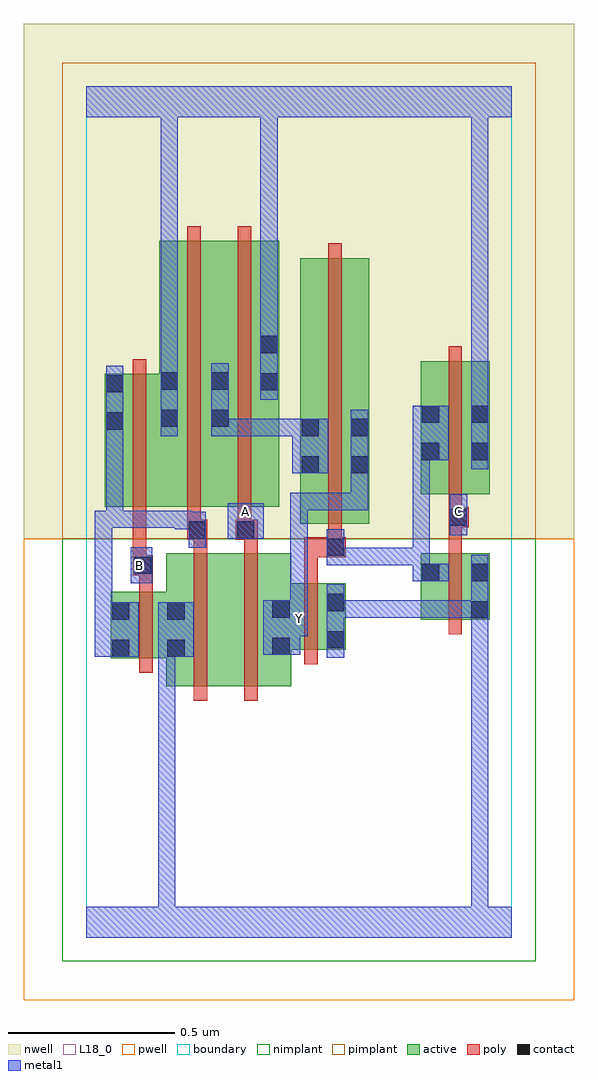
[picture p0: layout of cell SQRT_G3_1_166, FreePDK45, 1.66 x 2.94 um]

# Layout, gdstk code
import gdstk
lib = gdstk.Library(unit=1e-6, precision=1e-09)
def R(c, l, rs):  # rectangles x0, y0, x1, y1
    for r in rs: c.add(gdstk.rectangle(r[:2], r[2:], *l))
active = (1, 0)
pwell = (2, 0)
nwell = (3, 0)
nimplant = (4, 0)
pimplant = (5, 0)
poly = (9, 0)
contact = (10, 0)
metal1 = (11, 0)
L18_0 = (18, 0)
boundary = (235, 0)

sqrt_g3_1_166 = lib.new_cell('SQRT_G3_1_166')
R(sqrt_g3_1_166, active, [(0.24,0.756,0.42,1.156), (0.24,0.756,0.3,1.04), (0.42,0.756,0.616,1.156), (0.556,0.756,0.616,1.018), (0.074,0.84,0.134,1.04), (0.074,0.84,0.3,1.04), (0.556,0.866,0.78,1.066), (0.72,0.866,0.78,1.066), (1.006,0.956,1.066,1.156), (1.006,0.956,1.214,1.156), (1.154,0.956,1.214,1.156), (0.644,1.244,0.704,2.044), (0.644,1.244,0.852,2.044), (0.792,1.244,0.852,2.044), (0.056,1.296,0.116,1.696), (0.056,1.296,0.28,1.696), (0.22,1.296,0.432,2.096), (0.22,1.296,0.28,1.704), (0.372,1.296,0.58,2.096), (0.372,1.296,0.432,2.044), (0.52,1.296,0.58,2.044), (1.006,1.334,1.214,1.734), (1.006,1.334,1.066,1.644), (1.154,1.334,1.214,1.734)])
R(sqrt_g3_1_166, pwell, [(-0.188,-0.188,1.468,1.2)])
R(sqrt_g3_1_166, nwell, [(-0.188,1.2,1.468,2.748)])
R(sqrt_g3_1_166, nimplant, [(-0.072,-0.072,1.352,1.2)])
R(sqrt_g3_1_166, pimplant, [(-0.072,1.2,1.352,2.632)])
R(sqrt_g3_1_166, poly, [(0.324,0.712,0.364,1.2), (0.476,0.712,0.516,1.2), (0.16,0.796,0.2,1.084), (0.656,0.822,0.696,1.11), (1.09,0.912,1.13,1.2), (0.16,1.044,0.2,1.13), (0.656,1.07,0.696,1.184), (0.14,1.09,0.2,1.15), (0.14,1.11,0.18,1.15), (0.14,1.11,0.18,1.15), (0.14,1.11,0.18,1.292), (0.656,1.144,0.78,1.204), (0.324,1.16,0.364,1.236), (0.476,1.16,0.516,1.236), (1.09,1.16,1.13,1.274), (0.728,1.164,0.768,1.24), (0.728,1.164,0.768,1.204), (0.728,1.164,0.768,1.204), (0.304,1.196,0.364,1.256), (0.324,1.196,0.364,1.236), (0.324,1.196,0.364,1.236), (0.45,1.196,0.516,1.256), (0.728,1.2,0.768,2.088), (0.304,1.216,0.344,1.292), (0.456,1.216,0.496,1.292), (0.456,1.216,0.496,1.256), (0.456,1.216,0.496,1.256), (1.09,1.234,1.15,1.294), (0.14,1.252,0.18,1.74), (0.304,1.252,0.344,2.14), (0.456,1.252,0.496,2.14), (1.09,1.254,1.13,1.33), (1.09,1.254,1.13,1.294), (1.09,1.254,1.13,1.294), (1.09,1.29,1.13,1.778)])
R(sqrt_g3_1_166, contact, [(0.078,0.844,0.13,0.896), (0.244,0.844,0.296,0.896), (0.56,0.85,0.612,0.902), (0.724,0.87,0.776,0.922), (0.078,0.956,0.13,1.008), (0.244,0.956,0.296,1.008), (1.158,0.96,1.21,1.012), (0.56,0.962,0.612,1.014), (0.724,0.982,0.776,1.034), (1.01,1.072,1.062,1.124), (1.158,1.072,1.21,1.124), (0.144,1.094,0.196,1.146), (0.724,1.148,0.776,1.2), (0.308,1.2,0.36,1.252), (0.454,1.2,0.506,1.252), (1.094,1.238,1.146,1.29), (0.648,1.396,0.7,1.448), (0.796,1.396,0.848,1.448), (1.01,1.436,1.062,1.488), (1.158,1.436,1.21,1.488), (0.648,1.508,0.7,1.56), (0.796,1.508,0.848,1.56), (0.06,1.528,0.112,1.58), (0.224,1.536,0.276,1.588), (0.376,1.536,0.428,1.588), (1.01,1.548,1.062,1.6), (1.158,1.548,1.21,1.6), (0.06,1.64,0.112,1.692), (0.524,1.646,0.576,1.698), (0.224,1.648,0.276,1.7), (0.376,1.648,0.428,1.7), (0.524,1.758,0.576,1.81)])
R(sqrt_g3_1_166, metal1, [(0,0,1.28,0.092), (0.216,0.04,0.268,0.092), (0.216,0.04,0.268,0.092), (0.216,0.04,0.268,0.092), (0.216,0.04,0.268,0.092), (0.216,0.04,0.268,0.092), (0.216,0.04,0.268,0.092), (0.216,0.04,0.268,0.092), (0.216,0.04,0.268,0.092), (0.216,0.04,0.268,0.092), (0.216,0.04,0.268,0.092), (0.216,0.04,0.268,0.092), (0.216,0.04,0.268,0.092), (0.216,0.04,0.268,0.896), (1.158,0.04,1.21,0.984), (0.724,0.842,0.776,1.062), (0.026,0.844,0.158,1.008), (0.216,0.844,0.324,1.008), (0.532,0.85,0.644,1.014), (0.592,0.906,0.666,1.014), (1.158,0.932,1.21,0.984), (1.158,0.932,1.21,0.984), (1.158,0.932,1.21,0.984), (1.158,0.932,1.21,0.984), (1.158,0.932,1.21,0.984), (1.158,0.932,1.21,0.984), (1.158,0.932,1.21,0.984), (1.158,0.932,1.21,0.984), (1.158,0.932,1.21,0.984), (1.158,0.932,1.21,0.984), (1.158,0.932,1.21,0.984), (1.158,0.932,1.21,0.984), (1.158,0.932,1.21,0.984), (1.158,0.932,1.21,0.984), (1.158,0.932,1.21,0.984), (1.158,0.932,1.21,0.984), (1.158,0.932,1.21,1.152), (0.026,0.956,0.078,1.008), (0.026,0.956,0.078,1.008), (0.026,0.956,0.078,1.284), (0.592,0.962,0.644,1.014), (0.614,0.962,0.666,1.338), (0.724,0.962,1.1,1.014), (1.048,0.962,1.1,1.014), (1.048,0.962,1.1,1.014), (1.048,0.962,1.1,1.014), (1.048,0.962,1.21,1.014), (0.134,1.066,0.198,1.174), (0.982,1.072,1.034,1.172), (0.982,1.072,1.09,1.124), (0.724,1.12,0.776,1.172), (0.724,1.12,0.776,1.172), (0.724,1.12,1.034,1.172), (0.724,1.12,0.776,1.228), (0.982,1.12,1.034,1.172), (0.982,1.12,1.034,1.488), (0.308,1.172,0.36,1.28), (0.426,1.2,0.534,1.306), (1.094,1.21,1.146,1.334), (0.266,1.228,0.36,1.28), (0.266,1.228,0.318,1.284), (0.026,1.232,0.112,1.284), (0.06,1.232,0.112,1.284), (0.06,1.232,0.112,1.284), (0.06,1.232,0.318,1.284), (0.06,1.232,0.112,1.552), (0.614,1.286,0.666,1.338), (0.614,1.286,0.848,1.338), (0.796,1.286,0.848,1.338), (0.796,1.286,0.848,1.338), (0.796,1.286,0.848,1.338), (0.796,1.286,0.848,1.42), (0.796,1.368,0.848,1.588), (0.62,1.396,0.728,1.56), (1.158,1.408,1.21,1.628), (0.982,1.436,1.034,1.488), (0.982,1.436,1.034,1.488), (0.982,1.436,1.09,1.6), (0.06,1.5,0.112,1.72), (0.224,1.508,0.276,1.728), (0.376,1.508,0.428,1.56), (0.376,1.508,0.428,1.56), (0.376,1.508,0.428,1.728), (0.376,1.508,0.666,1.56), (0.614,1.508,0.666,1.56), (0.614,1.508,0.672,1.56), (1.158,1.576,1.21,1.628), (1.158,1.576,1.21,1.628), (1.158,1.576,1.21,1.628), (1.158,1.576,1.21,1.628), (1.158,1.576,1.21,1.628), (1.158,1.576,1.21,1.628), (1.158,1.576,1.21,1.628), (1.158,1.576,1.21,1.628), (1.158,1.576,1.21,2.52), (0.524,1.618,0.576,1.838), (0.224,1.676,0.276,1.728), (0.224,1.676,0.276,1.728), (0.224,1.676,0.276,2.52), (0.524,1.786,0.576,2.52), (0,2.468,1.28,2.56), (0.224,2.468,0.276,2.52), (0.224,2.468,0.276,2.52), (0.224,2.468,0.276,2.52), (0.224,2.468,0.276,2.52), (0.224,2.468,0.276,2.52), (0.224,2.468,0.276,2.52), (0.524,2.468,0.576,2.52), (0.524,2.468,0.576,2.52), (0.524,2.468,0.576,2.52), (0.524,2.468,0.576,2.52), (0.524,2.468,0.576,2.52), (0.524,2.468,0.576,2.52), (0.524,2.468,0.576,2.52), (0.524,2.468,0.576,2.52), (1.158,2.468,1.21,2.52), (1.158,2.468,1.21,2.52), (1.158,2.468,1.21,2.52), (1.158,2.468,1.21,2.52), (1.158,2.468,1.21,2.52), (1.158,2.468,1.21,2.52), (1.158,2.468,1.21,2.52), (1.158,2.468,1.21,2.52)])
R(sqrt_g3_1_166, L18_0, [(0,0,1.28,0.092), (0.216,0.04,0.268,0.092), (0.216,0.04,0.268,0.092), (0.216,0.04,0.268,0.092), (0.216,0.04,0.268,0.092), (0.216,0.04,0.268,0.092), (0.216,0.04,0.268,0.092), (0.216,0.04,0.268,0.092), (0.216,0.04,0.268,0.092), (0.216,0.04,0.268,0.092), (0.216,0.04,0.268,0.092), (0.216,0.04,0.268,0.092), (0.216,0.04,0.268,0.092), (0.216,0.04,0.268,0.896), (1.158,0.04,1.21,0.984), (0.724,0.842,0.776,1.062), (0.216,0.844,0.324,1.008), (0.532,0.85,0.644,1.014), (0.592,0.906,0.666,1.014), (1.158,0.932,1.21,0.984), (1.158,0.932,1.21,0.984), (1.158,0.932,1.21,0.984), (1.158,0.932,1.21,0.984), (1.158,0.932,1.21,0.984), (1.158,0.932,1.21,0.984), (1.158,0.932,1.21,0.984), (1.158,0.932,1.21,0.984), (1.158,0.932,1.21,0.984), (1.158,0.932,1.21,0.984), (1.158,0.932,1.21,0.984), (1.158,0.932,1.21,0.984), (1.158,0.932,1.21,0.984), (1.158,0.932,1.21,0.984), (1.158,0.932,1.21,0.984), (1.158,0.932,1.21,0.984), (1.158,0.932,1.21,1.152), (0.614,0.934,0.666,0.986), (0.592,0.962,0.644,1.014), (0.614,0.962,0.666,1.338), (0.724,0.962,1.1,1.014), (1.048,0.962,1.1,1.014), (1.048,0.962,1.1,1.014), (1.048,0.962,1.1,1.014), (1.048,0.962,1.21,1.014), (0.134,1.066,0.198,1.174), (0.134,1.094,0.186,1.146), (0.426,1.2,0.534,1.306), (1.094,1.21,1.146,1.334), (0.454,1.254,0.506,1.306), (1.094,1.254,1.146,1.306), (0.614,1.286,0.666,1.338), (0.614,1.286,0.848,1.338), (0.796,1.286,0.848,1.338), (0.796,1.286,0.848,1.338), (0.796,1.286,0.848,1.338), (0.796,1.286,0.848,1.42), (0.796,1.368,0.848,1.588), (1.158,1.408,1.21,1.628), (0.224,1.508,0.276,1.728), (1.158,1.576,1.21,1.628), (1.158,1.576,1.21,1.628), (1.158,1.576,1.21,1.628), (1.158,1.576,1.21,1.628), (1.158,1.576,1.21,1.628), (1.158,1.576,1.21,1.628), (1.158,1.576,1.21,1.628), (1.158,1.576,1.21,1.628), (1.158,1.576,1.21,2.52), (0.524,1.618,0.576,1.838), (0.224,1.676,0.276,1.728), (0.224,1.676,0.276,1.728), (0.224,1.676,0.276,2.52), (0.524,1.786,0.576,2.52), (0,2.468,1.28,2.56), (0.224,2.468,0.276,2.52), (0.224,2.468,0.276,2.52), (0.224,2.468,0.276,2.52), (0.224,2.468,0.276,2.52), (0.224,2.468,0.276,2.52), (0.224,2.468,0.276,2.52), (0.524,2.468,0.576,2.52), (0.524,2.468,0.576,2.52), (0.524,2.468,0.576,2.52), (0.524,2.468,0.576,2.52), (0.524,2.468,0.576,2.52), (0.524,2.468,0.576,2.52), (0.524,2.468,0.576,2.52), (0.524,2.468,0.576,2.52), (1.158,2.468,1.21,2.52), (1.158,2.468,1.21,2.52), (1.158,2.468,1.21,2.52), (1.158,2.468,1.21,2.52), (1.158,2.468,1.21,2.52), (1.158,2.468,1.21,2.52), (1.158,2.468,1.21,2.52), (1.158,2.468,1.21,2.52)])
R(sqrt_g3_1_166, boundary, [(0,0,1.28,2.56)])
sqrt_g3_1_166.add(gdstk.Label('A', (0.48,1.28), layer=11, texttype=0))
sqrt_g3_1_166.add(gdstk.Label('B', (0.16,1.12), layer=11, texttype=0))
sqrt_g3_1_166.add(gdstk.Label('C', (1.12,1.28), layer=11, texttype=0))
sqrt_g3_1_166.add(gdstk.Label('Y', (0.64,0.96), layer=11, texttype=0))

lib.write_gds('SQRT_G3_1_166.gds')
